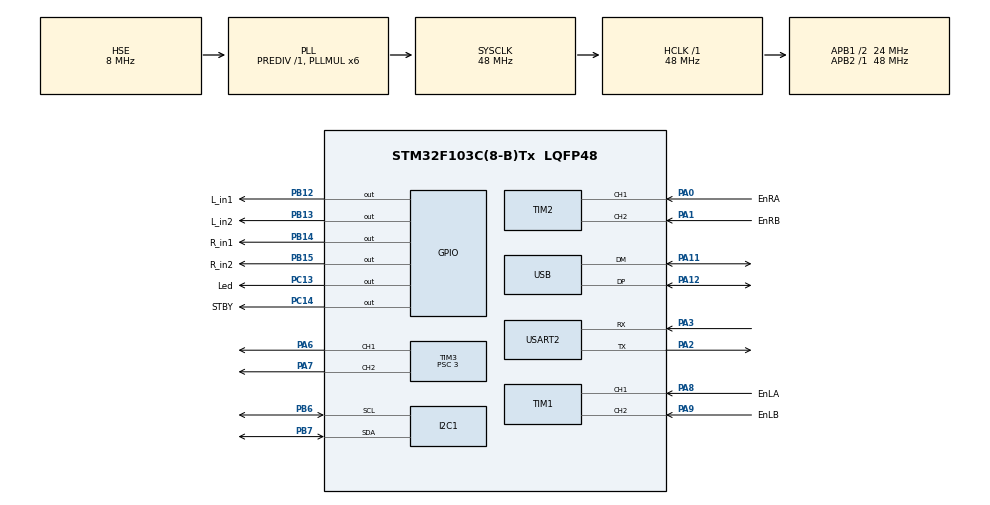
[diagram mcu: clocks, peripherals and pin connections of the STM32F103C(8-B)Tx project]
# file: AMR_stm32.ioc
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Dma.Request0=USART2_RX
Dma.USART2_RX.0.Direction=DMA_PERIPH_TO_MEMORY
Dma.USART2_RX.0.Instance=DMA1_Channel6
Dma.USART2_RX.0.MemDataAlignment=DMA_MDATAALIGN_BYTE
Dma.USART2_RX.0.MemInc=DMA_MINC_ENABLE
Dma.USART2_RX.0.Mode=DMA_CIRCULAR
Dma.USART2_RX.0.PeriphDataAlignment=DMA_PDATAALIGN_BYTE
Dma.USART2_RX.0.PeriphInc=DMA_PINC_DISABLE
Dma.USART2_RX.0.Priority=DMA_PRIORITY_LOW
Mcu.Family=STM32F1
Mcu.Name=STM32F103C(8-B)Tx
Mcu.Package=LQFP48
NVIC.DMA1_Channel6_IRQn=true\:0\:0\:false\:false\:true\:false\:true\:true
NVIC.PriorityGroup=NVIC_PRIORITYGROUP_4
NVIC.TIM4_IRQn=true\:0\:0\:false\:false\:true\:true\:true\:true
NVIC.USART2_IRQn=true\:0\:0\:false\:false\:true\:true\:true\:true
NVIC.USB_LP_CAN1_RX0_IRQn=true\:0\:0\:false\:false\:true\:false\:true\:true
PA0-WKUP.GPIO_Label=EnRA
PA0-WKUP.Signal=S_TIM2_CH1_ETR
PA1.GPIO_Label=EnRB
PA1.Signal=S_TIM2_CH2
PA11.Mode=Device
PA11.Signal=USB_DM
PA12.Mode=Device
PA12.Signal=USB_DP
PA13.Mode=Serial_Wire
PA13.Signal=SYS_JTMS-SWDIO
PA14.Mode=Serial_Wire
PA14.Signal=SYS_JTCK-SWCLK
PA2.Mode=Asynchronous
PA2.Signal=USART2_TX
PA3.Mode=Asynchronous
PA3.Signal=USART2_RX
PA6.Signal=S_TIM3_CH1
PA7.Signal=S_TIM3_CH2
PA8.GPIO_Label=EnLA
PA8.Signal=S_TIM1_CH1
PA9.GPIO_Label=EnLB
PA9.Signal=S_TIM1_CH2
PB12.GPIO_Label=L_in1
PB12.Signal=GPIO_Output
PB13.GPIO_Label=L_in2
PB13.Signal=GPIO_Output
PB14.GPIO_Label=R_in1
PB14.Signal=GPIO_Output
PB15.GPIO_Label=R_in2
PB15.Signal=GPIO_Output
PB6.Mode=I2C
PB6.Signal=I2C1_SCL
PB7.Mode=I2C
PB7.Signal=I2C1_SDA
PC13-TAMPER-RTC.GPIO_Label=Led
PC13-TAMPER-RTC.Signal=GPIO_Output
PC14-OSC32_IN.GPIO_Label=STBY
PC14-OSC32_IN.Signal=GPIO_Output
PD0-OSC_IN.Mode=HSE-External-Oscillator
PD0-OSC_IN.Signal=RCC_OSC_IN
PD1-OSC_OUT.Mode=HSE-External-Oscillator
PD1-OSC_OUT.Signal=RCC_OSC_OUT
ProjectManager.HeapSize=0x1000
ProjectManager.StackSize=0x800
ProjectManager.TargetToolchain=Makefile
RCC.AHBFreq_Value=48000000
RCC.APB1CLKDivider=RCC_HCLK_DIV2
RCC.APB1Freq_Value=24000000
RCC.APB1TimFreq_Value=48000000
RCC.APB2Freq_Value=48000000
RCC.APB2TimFreq_Value=48000000
RCC.HCLKFreq_Value=48000000
RCC.PLLMUL=RCC_PLL_MUL6
RCC.PLLSourceVirtual=RCC_PLLSOURCE_HSE
RCC.SYSCLKFreq_VALUE=48000000
RCC.SYSCLKSource=RCC_SYSCLKSOURCE_PLLCLK
RCC.USBFreq_Value=48000000
SH.S_TIM1_CH1.0=TIM1_CH1,Encoder_Interface
SH.S_TIM1_CH2.0=TIM1_CH2,Encoder_Interface
SH.S_TIM2_CH1_ETR.0=TIM2_CH1,Encoder_Interface
SH.S_TIM2_CH2.0=TIM2_CH2,Encoder_Interface
SH.S_TIM3_CH1.0=TIM3_CH1,PWM Generation1 CH1
SH.S_TIM3_CH2.0=TIM3_CH2,PWM Generation2 CH2
TIM1.EncoderMode=TIM_ENCODERMODE_TI12
TIM2.EncoderMode=TIM_ENCODERMODE_TI12
TIM3.Channel-PWM\ Generation1\ CH1=TIM_CHANNEL_1
TIM3.Channel-PWM\ Generation2\ CH2=TIM_CHANNEL_2
TIM3.Period=999
TIM3.Prescaler=3
TIM3.AutoReloadPreload=TIM_AUTORELOAD_PRELOAD_ENABLE
TIM4.Period=9999
TIM4.Prescaler=47
USART2.VirtualMode=VM_ASYNC
USB_DEVICE.CLASS_NAME_FS=CDC
USB_DEVICE.VirtualMode=Cdc
USB_DEVICE.VirtualModeFS=Cdc_FS
VP_TIM3_VS_ClockSourceINT.Mode=Internal
VP_TIM4_VS_ClockSourceINT.Mode=Internal
VP_USB_DEVICE_VS_USB_DEVICE_CDC_FS.Mode=CDC_FS
board=custom

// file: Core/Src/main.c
/* USER CODE BEGIN Header */
/**
  ******************************************************************************
  * @file           : main.c
  * @brief          : Main program body
  ******************************************************************************
  * @attention
  *
  * Copyright (c) 2026 STMicroelectronics.
  * All rights reserved.
  *
  * This software is licensed under terms that can be found in the LICENSE file
  * in the root directory of this software component.
  * If no LICENSE file comes with this software, it is provided AS-IS.
  *
  ******************************************************************************
  */
/* USER CODE END Header */
#include "main.h"
#include "usb_device.h"

/* USER CODE BEGIN Includes */
#include <stdint.h>
#include <stdbool.h>
#include <stdio.h>
#include <string.h> // Đã thêm để sử dụng memcpy
#include "encoder.h"
#include "mpu6050.h"
#include "odometry.h"
#include "pid.h"
#include "motor_control.h"
#include "fusion.h"
#include "serial_protocol.h"
#include "usbd_cdc_if.h"
/* USER CODE END Includes */

/* USER CODE BEGIN PD */
#define MAX_WHEEL_SPEED   5.0f    // Van toc banh toi da (rad/s), lenh lon hon se bi gioi han
#define PWM_MAX           1000    // Duty toi da (ARR TIM3 = 999)
#define CMD_TIMEOUT_MS    500     // Qua thoi gian nay khong co lenh moi -> dung motor
#define SPEED_DEADBAND    0.01f   // |target| nho hon gia tri nay coi nhu lenh dung
#define ENC_R_SIGN        (-1.0f) // Encoder phai lap nguoc chieu (giong Encoder_Nguoc_Read_Raw)

// He so PID (sai so tinh theo rad/s, dau ra la duty) -> can tinh chinh tren xe that
#define PID_KP            80.0f
#define PID_KI            150.0f
#define PID_KD            0.0f
/* USER CODE END PD */

/* USER CODE BEGIN PM */
#define CDC_RX_BUF_SIZE 64
/* USER CODE END PM */

I2C_HandleTypeDef hi2c1;

TIM_HandleTypeDef htim1;
TIM_HandleTypeDef htim2;
TIM_HandleTypeDef htim3;
TIM_HandleTypeDef htim4;

UART_HandleTypeDef huart2;
DMA_HandleTypeDef hdma_usart2_rx;

/* USER CODE BEGIN PV */
Encoder_HandleTypeDef encoderL;
Encoder_HandleTypeDef encoderR;
Odometry_HandleTypeDef odom;
volatile MPU6050_Data mpu_data;

volatile bool cmd_received = false;
volatile float cmd_vel_right = 0.0f; // Ghi trong ngat USB (usbd_cdc_if.c), don vi rad/s
volatile float cmd_vel_left = 0.0f;

// === Dieu khien van toc banh ===
PID_HandleTypeDef pidL;
PID_HandleTypeDef pidR;
volatile float target_left_speed = 0.0f;  // rad/s
volatile float target_right_speed = 0.0f; // rad/s
volatile float speed_left = 0.0f;         // rad/s do tu encoder (de debug)
volatile float speed_right = 0.0f;
volatile int16_t duty_left = 0;           // -1000..1000 (de debug)
volatile int16_t duty_right = 0;
uint32_t last_cmd_tick = 0;

//===bien giao tiep voi pi
uint8_t rx_cmd_buffer[CDC_RX_BUF_SIZE];
volatile uint8_t new_cmd_flag = 0;
volatile uint16_t new_cmd_len = 0;

// Biến hỗ trợ nhấp nháy LED theo luồng dữ liệu
volatile uint16_t uart_rx_timeout = 0; // Bộ đếm timeout (tính theo chu kỳ 10ms)
uint8_t led_blink_counter = 0;          // Bộ chia tần số để LED nhấp nháy vừa mắt
volatile float yaw =0;//bien de debug
volatile uint8_t stby_state = 0;
volatile uint8_t pwmA_state = 0;
volatile uint8_t pwmB_state = 0;
volatile uint8_t L_in1_state = 0;
volatile uint8_t L_in2_state = 0;
volatile uint8_t R_in1_state = 0;
volatile uint8_t R_in2_state = 0;
uint32_t last_ros_send_tick =0;
/* USER CODE END PV */

void SystemClock_Config(void);
static void MX_GPIO_Init(void);
static void MX_DMA_Init(void);
static void MX_I2C1_Init(void);
static void MX_TIM1_Init(void);
static void MX_TIM2_Init(void);
static void MX_TIM4_Init(void);
static void MX_USART2_UART_Init(void);
static void MX_TIM3_Init(void);
/* USER CODE BEGIN PFP */
static int16_t Speed_Control(PID_HandleTypeDef *pid, float target, float measured);
/* USER CODE END PFP */

/* USER CODE BEGIN 0 */
volatile bool flag_10ms = false;
/* USER CODE END 0 */

int main(void)
{

  /* MCU Configuration--------------------------------------------------------*/

  /* Reset of all peripherals, Initializes the Flash interface and the Systick. */
  HAL_Init();

  /* Configure the system clock */
  SystemClock_Config();

  /* Initialize all configured peripherals */
  MX_GPIO_Init();
  MX_DMA_Init();
  MX_I2C1_Init();
  MX_TIM1_Init();
  MX_TIM2_Init();
  MX_TIM4_Init();
  MX_USART2_UART_Init();
  MX_USB_DEVICE_Init();
  MX_TIM3_Init();
  /* USER CODE BEGIN 2 */
  Encoder_Init(&encoderL, &htim1);
  Encoder_Init(&encoderR, &htim2);
  // //HAL_UART_Receive_DMA(&huart2, dma_rx_buffer, DMA_RX_BUF_SIZE);
  HAL_TIM_PWM_Start(&htim3, TIM_CHANNEL_1); // PWM động cơ trái
  HAL_TIM_PWM_Start(&htim3, TIM_CHANNEL_2); // PWM động cơ phải
  Motor_SetLeft(0,&htim3, TIM_CHANNEL_1);
  Motor_SetRight(0,&htim3, TIM_CHANNEL_2);
  PID_Init(&pidL, PID_KP, PID_KI, PID_KD);
  PID_Init(&pidR, PID_KP, PID_KI, PID_KD);
  HAL_GPIO_WritePin(STBY_GPIO_Port, STBY_Pin, GPIO_PIN_SET); // Bat TB6612
  HAL_TIM_Base_Start_IT(&htim4); // Ngat 10ms cho vong dieu khien
  // MPU6050_Init(&hi2c1);
  //Odometry_Init(&odom);
  // SerialProtocol_Init(&huart2);
  // HAL_GPIO_WritePin(GPIOC,GPIO_PIN_14,GPIO_PIN_SET);
  /* USER CODE END 2 */

  /* Infinite loop */
  /* USER CODE BEGIN WHILE */
  while (1)
  {
    // 1. Nhan lenh moi tu ROS2 (frame "rp01.50,lp02.30," parse trong usbd_cdc_if.c)
    if (new_cmd_flag)
    {
      __disable_irq();               // Lay ca cap van toc cung luc, tranh bi ngat USB chen giua
      float r = cmd_vel_right;
      float l = cmd_vel_left;
      new_cmd_flag = 0;
      __enable_irq();

      if (r >  MAX_WHEEL_SPEED) r =  MAX_WHEEL_SPEED;
      if (r < -MAX_WHEEL_SPEED) r = -MAX_WHEEL_SPEED;
      if (l >  MAX_WHEEL_SPEED) l =  MAX_WHEEL_SPEED;
      if (l < -MAX_WHEEL_SPEED) l = -MAX_WHEEL_SPEED;
      target_right_speed = r;
      target_left_speed  = l;
      last_cmd_tick = HAL_GetTick();
      HAL_GPIO_TogglePin(Led_GPIO_Port, Led_Pin);
    }

    // 2. Vong dieu khien PID moi 10ms (ngat TIM4)
    if (flag_10ms)
    {
      flag_10ms = false;

      // Mat lenh qua lau -> dung xe
      if (HAL_GetTick() - last_cmd_tick > CMD_TIMEOUT_MS)
      {
        target_left_speed  = 0.0f;
        target_right_speed = 0.0f;
      }

      // Doc encoder, doi rpm -> rad/s
      Encoder_Update(&encoderL);
      Encoder_Update(&encoderR);
      speed_left  = encoderL.speed_rpm * (2.0f * PI / 60.0f);
      speed_right = ENC_R_SIGN * encoderR.speed_rpm * (2.0f * PI / 60.0f);

      duty_left  = Speed_Control(&pidL, target_left_speed,  speed_left);
      duty_right = Speed_Control(&pidR, target_right_speed, speed_right);
      Motor_SetLeft(duty_left,&htim3,TIM_CHANNEL_1);
      Motor_SetRight(duty_right,&htim3, TIM_CHANNEL_2);
    }
    //3. Chu ky gui du lieu len ros2 dinh ky 50ms
    // 2. Khối gửi dữ liệu lên ROS 2 tách biệt với chu kỳ 50ms (20Hz)
    if (HAL_GetTick() - last_ros_send_tick >= 50)
    {
        last_ros_send_tick = HAL_GetTick();

        // Gửi vận tốc thực tế đo được lên ROS 2 qua USB CDC
        CDC_Send_Wheel_Vel(speed_right, speed_left);
    }

    /* USER CODE END WHILE */

   }
}

void SystemClock_Config(void)
{
  RCC_OscInitTypeDef RCC_OscInitStruct = {0};
  RCC_ClkInitTypeDef RCC_ClkInitStruct = {0};
  RCC_PeriphCLKInitTypeDef PeriphClkInit = {0};

  /** Initializes the RCC Oscillators according to the specified parameters
  * in the RCC_OscInitTypeDef structure.
  */
  RCC_OscInitStruct.OscillatorType = RCC_OSCILLATORTYPE_HSE;
  RCC_OscInitStruct.HSEState = RCC_HSE_ON;
  RCC_OscInitStruct.HSEPredivValue = RCC_HSE_PREDIV_DIV1;
  RCC_OscInitStruct.HSIState = RCC_HSI_ON;
  RCC_OscInitStruct.PLL.PLLState = RCC_PLL_ON;
  RCC_OscInitStruct.PLL.PLLSource = RCC_PLLSOURCE_HSE;
  RCC_OscInitStruct.PLL.PLLMUL = RCC_PLL_MUL6;
  if (HAL_RCC_OscConfig(&RCC_OscInitStruct) != HAL_OK)
  {
    Error_Handler();
  }

  /** Initializes the CPU, AHB and APB buses clocks
  */
  RCC_ClkInitStruct.ClockType = RCC_CLOCKTYPE_HCLK|RCC_CLOCKTYPE_SYSCLK
                              |RCC_CLOCKTYPE_PCLK1|RCC_CLOCKTYPE_PCLK2;
  RCC_ClkInitStruct.SYSCLKSource = RCC_SYSCLKSOURCE_PLLCLK;
  RCC_ClkInitStruct.AHBCLKDivider = RCC_SYSCLK_DIV1;
  RCC_ClkInitStruct.APB1CLKDivider = RCC_HCLK_DIV2;
  RCC_ClkInitStruct.APB2CLKDivider = RCC_HCLK_DIV1;

  if (HAL_RCC_ClockConfig(&RCC_ClkInitStruct, FLASH_LATENCY_1) != HAL_OK)
  {
    Error_Handler();
  }
  PeriphClkInit.PeriphClockSelection = RCC_PERIPHCLK_USB;
  PeriphClkInit.UsbClockSelection = RCC_USBCLKSOURCE_PLL;
  if (HAL_RCCEx_PeriphCLKConfig(&PeriphClkInit) != HAL_OK)
  {
    Error_Handler();
  }
}

static void MX_I2C1_Init(void)
{

  hi2c1.Instance = I2C1;
  hi2c1.Init.ClockSpeed = 100000;
  hi2c1.Init.DutyCycle = I2C_DUTYCYCLE_2;
  hi2c1.Init.OwnAddress1 = 0;
  hi2c1.Init.AddressingMode = I2C_ADDRESSINGMODE_7BIT;
  hi2c1.Init.DualAddressMode = I2C_DUALADDRESS_DISABLE;
  hi2c1.Init.OwnAddress2 = 0;
  hi2c1.Init.GeneralCallMode = I2C_GENERALCALL_DISABLE;
  hi2c1.Init.NoStretchMode = I2C_NOSTRETCH_DISABLE;
  if (HAL_I2C_Init(&hi2c1) != HAL_OK)
  {
    Error_Handler();
  }

}

static void MX_TIM1_Init(void)
{

  TIM_Encoder_InitTypeDef sConfig = {0};
  TIM_MasterConfigTypeDef sMasterConfig = {0};

  htim1.Instance = TIM1;
  htim1.Init.Prescaler = 0;
  htim1.Init.CounterMode = TIM_COUNTERMODE_UP;
  htim1.Init.Period = 65535;
  htim1.Init.ClockDivision = TIM_CLOCKDIVISION_DIV1;
  htim1.Init.RepetitionCounter = 0;
  htim1.Init.AutoReloadPreload = TIM_AUTORELOAD_PRELOAD_DISABLE;
  sConfig.EncoderMode = TIM_ENCODERMODE_TI12;
  sConfig.IC1Polarity = TIM_ICPOLARITY_RISING;
  sConfig.IC1Selection = TIM_ICSELECTION_DIRECTTI;
  sConfig.IC1Prescaler = TIM_ICPSC_DIV1;
  sConfig.IC1Filter = 0;
  sConfig.IC2Polarity = TIM_ICPOLARITY_RISING;
  sConfig.IC2Selection = TIM_ICSELECTION_DIRECTTI;
  sConfig.IC2Prescaler = TIM_ICPSC_DIV1;
  sConfig.IC2Filter = 0;
  if (HAL_TIM_Encoder_Init(&htim1, &sConfig) != HAL_OK)
  {
    Error_Handler();
  }
  sMasterConfig.MasterOutputTrigger = TIM_TRGO_RESET;
  sMasterConfig.MasterSlaveMode = TIM_MASTERSLAVEMODE_DISABLE;
  if (HAL_TIMEx_MasterConfigSynchronization(&htim1, &sMasterConfig) != HAL_OK)
  {
    Error_Handler();
  }

}

static void MX_TIM2_Init(void)
{

  TIM_Encoder_InitTypeDef sConfig = {0};
  TIM_MasterConfigTypeDef sMasterConfig = {0};

  htim2.Instance = TIM2;
  htim2.Init.Prescaler = 0;
  htim2.Init.CounterMode = TIM_COUNTERMODE_UP;
  htim2.Init.Period = 65535;
  htim2.Init.ClockDivision = TIM_CLOCKDIVISION_DIV1;
  htim2.Init.AutoReloadPreload = TIM_AUTORELOAD_PRELOAD_DISABLE;
  sConfig.EncoderMode = TIM_ENCODERMODE_TI12;
  sConfig.IC1Polarity = TIM_ICPOLARITY_RISING;
  sConfig.IC1Selection = TIM_ICSELECTION_DIRECTTI;
  sConfig.IC1Prescaler = TIM_ICPSC_DIV1;
  sConfig.IC1Filter = 0;
  sConfig.IC2Polarity = TIM_ICPOLARITY_RISING;
  sConfig.IC2Selection = TIM_ICSELECTION_DIRECTTI;
  sConfig.IC2Prescaler = TIM_ICPSC_DIV1;
  sConfig.IC2Filter = 0;
  if (HAL_TIM_Encoder_Init(&htim2, &sConfig) != HAL_OK)
  {
    Error_Handler();
  }
  sMasterConfig.MasterOutputTrigger = TIM_TRGO_RESET;
  sMasterConfig.MasterSlaveMode = TIM_MASTERSLAVEMODE_DISABLE;
  if (HAL_TIMEx_MasterConfigSynchronization(&htim2, &sMasterConfig) != HAL_OK)
  {
    Error_Handler();
  }

}

static void MX_TIM3_Init(void)
{

  TIM_ClockConfigTypeDef sClockSourceConfig = {0};
  TIM_MasterConfigTypeDef sMasterConfig = {0};
  TIM_OC_InitTypeDef sConfigOC = {0};

  htim3.Instance = TIM3;
  htim3.Init.Prescaler = 3;
  htim3.Init.CounterMode = TIM_COUNTERMODE_UP;
  htim3.Init.Period = 999;
  htim3.Init.ClockDivision = TIM_CLOCKDIVISION_DIV1;
  htim3.Init.AutoReloadPreload = TIM_AUTORELOAD_PRELOAD_ENABLE;
  if (HAL_TIM_Base_Init(&htim3) != HAL_OK)
  {
    Error_Handler();
  }
  sClockSourceConfig.ClockSource = TIM_CLOCKSOURCE_INTERNAL;
  if (HAL_TIM_ConfigClockSource(&htim3, &sClockSourceConfig) != HAL_OK)
  {
    Error_Handler();
  }
  if (HAL_TIM_PWM_Init(&htim3) != HAL_OK)
  {
    Error_Handler();
  }
  sMasterConfig.MasterOutputTrigger = TIM_TRGO_RESET;
  sMasterConfig.MasterSlaveMode = TIM_MASTERSLAVEMODE_DISABLE;
  if (HAL_TIMEx_MasterConfigSynchronization(&htim3, &sMasterConfig) != HAL_OK)
  {
    Error_Handler();
  }
  sConfigOC.OCMode = TIM_OCMODE_PWM1;
  sConfigOC.Pulse = 0;
  sConfigOC.OCPolarity = TIM_OCPOLARITY_HIGH;
  sConfigOC.OCFastMode = TIM_OCFAST_DISABLE;
  if (HAL_TIM_PWM_ConfigChannel(&htim3, &sConfigOC, TIM_CHANNEL_1) != HAL_OK)
  {
    Error_Handler();
  }
  if (HAL_TIM_PWM_ConfigChannel(&htim3, &sConfigOC, TIM_CHANNEL_2) != HAL_OK)
  {
    Error_Handler();
  }
  HAL_TIM_MspPostInit(&htim3);

}

static void MX_TIM4_Init(void)
{

  TIM_ClockConfigTypeDef sClockSourceConfig = {0};
  TIM_MasterConfigTypeDef sMasterConfig = {0};

  htim4.Instance = TIM4;
  htim4.Init.Prescaler = 47;
  htim4.Init.CounterMode = TIM_COUNTERMODE_UP;
  htim4.Init.Period = 9999;
  htim4.Init.ClockDivision = TIM_CLOCKDIVISION_DIV1;
  htim4.Init.AutoReloadPreload = TIM_AUTORELOAD_PRELOAD_DISABLE;
  if (HAL_TIM_Base_Init(&htim4) != HAL_OK)
  {
    Error_Handler();
  }
  sClockSourceConfig.ClockSource = TIM_CLOCKSOURCE_INTERNAL;
  if (HAL_TIM_ConfigClockSource(&htim4, &sClockSourceConfig) != HAL_OK)
  {
    Error_Handler();
  }
  sMasterConfig.MasterOutputTrigger = TIM_TRGO_RESET;
  sMasterConfig.MasterSlaveMode = TIM_MASTERSLAVEMODE_DISABLE;
  if (HAL_TIMEx_MasterConfigSynchronization(&htim4, &sMasterConfig) != HAL_OK)
  {
    Error_Handler();
  }

}

static void MX_USART2_UART_Init(void)
{

  huart2.Instance = USART2;
  huart2.Init.BaudRate = 115200;
  huart2.Init.WordLength = UART_WORDLENGTH_8B;
  huart2.Init.StopBits = UART_STOPBITS_1;
  huart2.Init.Parity = UART_PARITY_NONE;
  huart2.Init.Mode = UART_MODE_TX_RX;
  huart2.Init.HwFlowCtl = UART_HWCONTROL_NONE;
  huart2.Init.OverSampling = UART_OVERSAMPLING_16;
  if (HAL_UART_Init(&huart2) != HAL_OK)
  {
    Error_Handler();
  }

}

static void MX_DMA_Init(void)
{

  /* DMA controller clock enable */
  __HAL_RCC_DMA1_CLK_ENABLE();

  /* DMA interrupt init */
  /* DMA1_Channel6_IRQn interrupt configuration */
  HAL_NVIC_SetPriority(DMA1_Channel6_IRQn, 0, 0);
  HAL_NVIC_EnableIRQ(DMA1_Channel6_IRQn);

}

static void MX_GPIO_Init(void)
{
  GPIO_InitTypeDef GPIO_InitStruct = {0};

  /* GPIO Ports Clock Enable */
  __HAL_RCC_GPIOC_CLK_ENABLE();
  __HAL_RCC_GPIOD_CLK_ENABLE();
  __HAL_RCC_GPIOA_CLK_ENABLE();
  __HAL_RCC_GPIOB_CLK_ENABLE();

  /*Configure GPIO pin Output Level */
  HAL_GPIO_WritePin(GPIOC, Led_Pin|STBY_Pin, GPIO_PIN_RESET);

  /*Configure GPIO pin Output Level */
  HAL_GPIO_WritePin(GPIOB, L_in1_Pin|L_in2_Pin|R_in1_Pin|R_in2_Pin, GPIO_PIN_RESET);

  /*Configure GPIO pins : Led_Pin PC14 */
  GPIO_InitStruct.Pin = Led_Pin|STBY_Pin;
  GPIO_InitStruct.Mode = GPIO_MODE_OUTPUT_PP;
  GPIO_InitStruct.Pull = GPIO_NOPULL;
  GPIO_InitStruct.Speed = GPIO_SPEED_FREQ_LOW;
  HAL_GPIO_Init(GPIOC, &GPIO_InitStruct);

  /*Configure GPIO pins : L_in1_Pin L_in2_Pin R_in1_Pin R_in2_Pin */
  GPIO_InitStruct.Pin = L_in1_Pin|L_in2_Pin|R_in1_Pin|R_in2_Pin;
  GPIO_InitStruct.Mode = GPIO_MODE_OUTPUT_PP;
  GPIO_InitStruct.Pull = GPIO_NOPULL;
  GPIO_InitStruct.Speed = GPIO_SPEED_FREQ_LOW;
  HAL_GPIO_Init(GPIOB, &GPIO_InitStruct);

}

/* USER CODE BEGIN 4 */
// Feedforward (ty le voi van toc dat) + PID bu sai so, ket qua la duty -1000..1000
static int16_t Speed_Control(PID_HandleTypeDef *pid, float target, float measured)
{
  if (target > -SPEED_DEADBAND && target < SPEED_DEADBAND)
  {
    pid->integral = 0.0f;       // Lenh dung -> xoa tich phan de khong bi troi
    pid->previous_error = 0.0f;
    return 0;
  }
  float u = (target / MAX_WHEEL_SPEED) * PWM_MAX + PID_Compute(pid, target, measured);
  if (u >  PWM_MAX) u =  PWM_MAX;
  if (u < -PWM_MAX) u = -PWM_MAX;
  return (int16_t)u;
}

void HAL_TIM_PeriodElapsedCallback(TIM_HandleTypeDef *htim)
{
    if (htim->Instance == TIM4)
    {
        flag_10ms = true;
    }
}

/* USER CODE END 4 */

void Error_Handler(void)
{
  __disable_irq();
  while (1)
  {
  }
}
